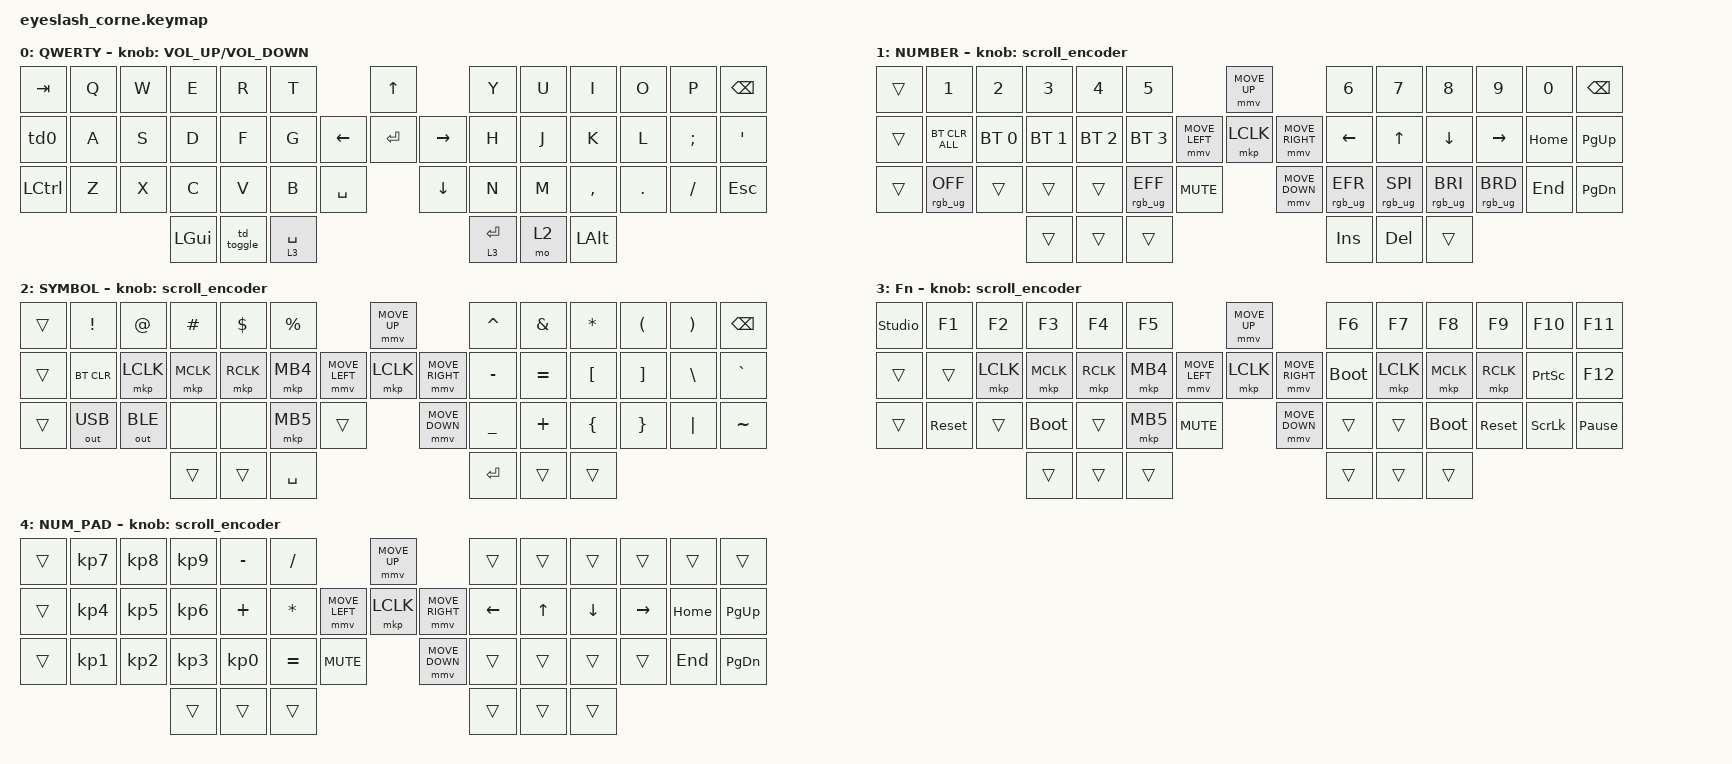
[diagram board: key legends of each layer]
#define ZMK_POINTING_DEFAULT_MOVE_VAL 1200  // 600
#define ZMK_POINTING_DEFAULT_SCRL_VAL 25   // 10

#include <input/processors.dtsi>
#include <zephyr/dt-bindings/input/input-event-codes.h>
#include <behaviors.dtsi>
#include <dt-bindings/zmk/bt.h>
#include <dt-bindings/zmk/ext_power.h>
#include <dt-bindings/zmk/keys.h>
#include <dt-bindings/zmk/pointing.h>
#include <dt-bindings/zmk/outputs.h>
#include <dt-bindings/zmk/rgb.h>


&mmv_input_listener { input-processors = <&zip_xy_scaler 2 1>; };

&msc_input_listener { input-processors = <&zip_scroll_scaler 2 1>; };

&msc {
    acceleration-exponent = <1>;      // 0
    time-to-max-speed-ms = <100>;       // 300
    delay-ms = <0>;                   // 0
};

&mmv {
    time-to-max-speed-ms = <500>;
    acceleration-exponent = <1>;
    trigger-period-ms = <16>;
};


/ {
    behaviors {
        td0: td0 {
            compatible = "zmk,behavior-tap-dance";
            display-name = "Shift/Caps Lock Tap Dance";
            #binding-cells = <0>;
            tapping-term-ms = <300>;
            bindings = <&kp LEFT_SHIFT>, <&kp CAPS>;
        };
        
        td_toggle: td_toggle {
            compatible = "zmk,behavior-tap-dance";
            label = "TD_4_TOGGLE";
            #binding-cells = <0>;
            tapping-term-ms = <300>;
            bindings = <&mo 1>, <&tog 4>;
        };
    };

    rgb_encoder: rgb_encoder {
        compatible = "zmk,behavior-sensor-rotate";
        #sensor-binding-cells = <0>;
        bindings = <&rgb_ug RGB_BRI>, <&rgb_ug RGB_BRD>;
    };

    scroll_encoder: scroll_encoder {
        compatible = "zmk,behavior-sensor-rotate";
        #sensor-binding-cells = <0>;
        bindings = <&msc SCRL_DOWN>, <&msc SCRL_UP>;
        tap-ms = <100>;
    };

    keymap {
        compatible = "zmk,keymap";

        default_layer {
            display-name = "QWERTY";
            bindings = <
&kp TAB    &kp Q  &kp W    &kp E     &kp R       &kp T                              &kp UP                &kp Y        &kp U  &kp I      &kp O    &kp P     &kp BSPC
&td0       &kp A  &kp S    &kp D     &kp F       &kp G                    &kp LEFT  &kp ENTER  &kp RIGHT  &kp H        &kp J  &kp K      &kp L    &kp SEMI  &kp SQT
&kp LCTRL  &kp Z  &kp X    &kp C     &kp V       &kp B       &kp SPACE              &kp DOWN              &kp N        &kp M  &kp COMMA  &kp DOT  &kp FSLH  &kp ESC
                           &kp LGUI  &td_toggle  &lt 3 SPACE                                              &lt 3 ENTER  &mo 2  &kp LALT
            >;
            sensor-bindings = <&inc_dec_kp C_VOLUME_UP C_VOLUME_DOWN>;
        };

        lower_layer {
            display-name = "NUMBER";
            bindings = <
&trans  &kp N1           &kp N2         &kp N3        &kp N4        &kp N5                                            &mmv MOVE_UP                &kp N6           &kp N7           &kp N8           &kp N9           &kp N0     &kp BSPC
&trans  &bt BT_CLR_ALL   &bt BT_SEL 0   &bt BT_SEL 1  &bt BT_SEL 2  &bt BT_SEL 3                      &mmv MOVE_LEFT  &mkp LCLK &mmv MOVE_RIGHT   &kp LEFT         &kp UP           &kp DOWN         &kp RIGHT        &kp HOME   &kp PG_UP
&trans  &rgb_ug RGB_OFF  &trans         &trans        &trans        &rgb_ug RGB_EFF  &kp C_MUTE                       &mmv MOVE_DOWN              &rgb_ug RGB_EFR  &rgb_ug RGB_SPI  &rgb_ug RGB_BRI  &rgb_ug RGB_BRD  &kp END    &kp PG_DN
                                        &trans        &trans        &trans                                                                        &kp INS          &kp DEL          &trans
            >;
            sensor-bindings = <&scroll_encoder>;
        };

        raise_layer {
            display-name = "SYMBOL";
            bindings = <
&trans  &kp EXCL      &kp AT        &kp HASH   &kp DLLR   &kp PRCNT                           &mmv MOVE_UP                     &kp CARET  &kp AMPS   &kp ASTRK  &kp LPAR  &kp RPAR  &kp BSPC
&trans  &bt BT_CLR    &mkp LCLK     &mkp MCLK  &mkp RCLK  &mkp MB4            &mmv MOVE_LEFT  &mkp LCLK       &mmv MOVE_RIGHT  &kp MINUS  &kp EQUAL  &kp LBKT   &kp RBKT  &kp BSLH  &kp GRAVE
&trans  &out OUT_USB  &out OUT_BLE  &none      &none      &mkp MB5  &trans                    &mmv MOVE_DOWN                   &kp UNDER  &kp PLUS   &kp LBRC   &kp RBRC  &kp PIPE  &kp TILDE
                                    &trans     &trans     &kp SPACE                                                            &kp RET    &trans     &trans
            >;
            sensor-bindings = <&scroll_encoder>;
        };

        layer_3 {
            display-name = "Fn";
            bindings = <
&studio_unlock  &kp F1      &kp F2      &kp F3       &kp F4     &kp F5                                  &mmv MOVE_UP                       &kp F6       &kp F7     &kp F8       &kp F9      &kp F10          &kp F11
&trans          &trans      &mkp LCLK   &mkp MCLK    &mkp RCLK  &mkp MB4                &mmv MOVE_LEFT  &mkp LCLK       &mmv MOVE_RIGHT    &bootloader  &mkp LCLK  &mkp MCLK    &mkp RCLK   &kp PRINTSCREEN  &kp F12
&trans          &sys_reset  &trans      &bootloader  &trans     &mkp MB5  &kp C_MUTE                    &mmv MOVE_DOWN                     &trans       &trans     &bootloader  &sys_reset  &kp SCROLLLOCK   &kp PAUSE_BREAK
                                        &trans       &trans     &trans                                                                     &trans       &trans     &trans
            >;
            sensor-bindings = <&scroll_encoder>;
        };

//Capa 4 creada por mi para que el teclado izquierdo funcione como en numpad de un teclado 110%
        layer_4 {
            display-name = "NUM_PAD";
            bindings = <
        &trans  &kp KP_N7  &kp KP_N8  &kp KP_N9  &kp MINUS  &kp FSLH                                            &mmv MOVE_UP                     &trans   &trans  &trans    &trans    &trans   &trans
        &trans  &kp KP_N4  &kp KP_N5  &kp KP_N6  &kp PLUS   &kp ASTRK                           &mmv MOVE_LEFT  &mkp LCLK      &mmv MOVE_RIGHT   &kp LEFT &kp UP  &kp DOWN  &kp RIGHT &kp HOME &kp PG_UP
        &trans  &kp KP_N1  &kp KP_N2  &kp KP_N3  &kp KP_N0  &kp EQUAL  &kp C_MUTE                               &mmv MOVE_DOWN                   &trans   &trans  &trans    &trans    &kp END  &kp PG_DN
                                      &trans     &trans     &trans                                                                               &trans   &trans  &trans
                    >;
                    sensor-bindings = <&scroll_encoder>;
                };
    };
};
